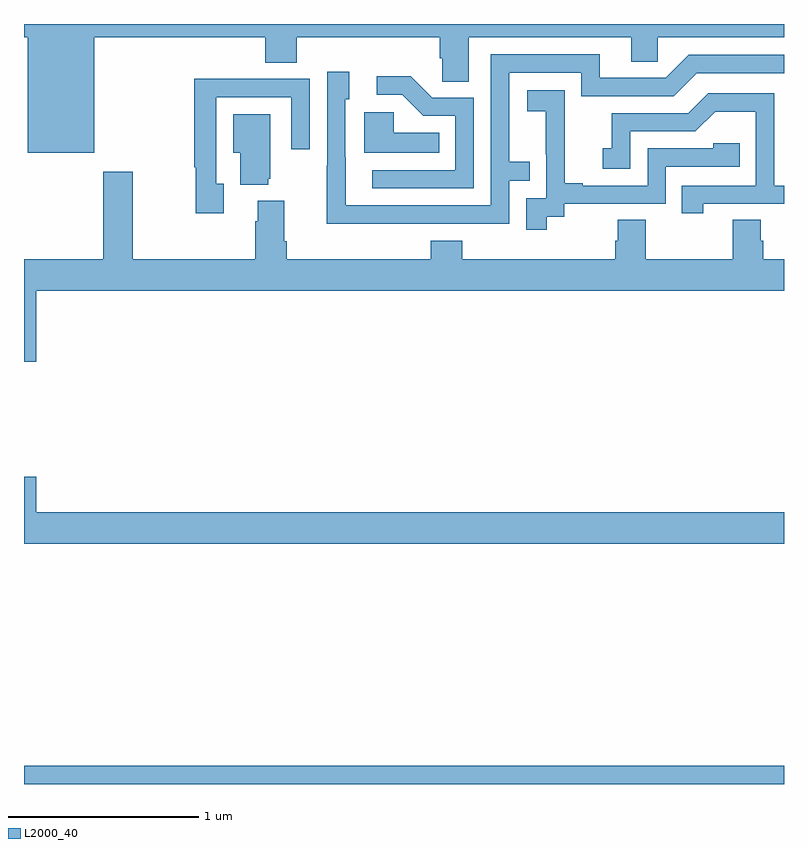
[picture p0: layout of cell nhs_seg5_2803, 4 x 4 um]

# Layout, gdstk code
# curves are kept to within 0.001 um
import gdstk
lib = gdstk.Library(unit=1e-6, precision=1e-09)
def R(c, l, rs):  # rectangles x0, y0, x1, y1
    for r in rs: c.add(gdstk.rectangle(r[:2], r[2:], *l))
def P(c, l, *ps):  # polygons
    for p in ps: c.add(gdstk.Polygon(p, *l))
L2000_40 = (2000, 40)

nhs_seg5_2803 = lib.new_cell('nhs_seg5_2803')
R(nhs_seg5_2803, L2000_40, [(273,884.799,277,884.896)])
P(nhs_seg5_2803, L2000_40, [(273.37,888.728),(274.271,888.728),(274.271,888.595),(274.436,888.595),(274.436,888.728),(275.189,888.728),(275.189,888.619),(275.202,888.619),(275.202,888.496),(275.341,888.496),(275.341,888.728),(276.197,888.728),(276.197,888.601),(276.336,888.601),(276.336,888.728),(277,888.728),(277,888.799),(273,888.799),(273,888.728),(273.02,888.728),(273.02,888.122),(273.37,888.122)],
  [(275.057,887.748),(275.553,887.748),(275.553,887.973),(275.663,887.973),(275.663,888.074),(275.553,888.074),(275.553,888.543),(275.934,888.543),(275.934,888.42),(276.42,888.42),(276.54,888.54),(277,888.54),(277,888.636),(276.498,888.636),(276.378,888.516),(276.031,888.516),(276.031,888.639),(275.457,888.639),(275.457,887.844),(274.693,887.844),(274.692,888.402),(274.711,888.402),(274.711,888.547),(274.596,888.547),(274.596,888.053),(274.594,888.053),(274.594,887.747)],
  [(275.367,888.411),(275.148,888.411),(275.035,888.524),(274.857,888.524),(274.857,888.426),(274.991,888.426),(275.102,888.315),(275.271,888.315),(275.271,888.03),(274.833,888.03),(274.833,887.934),(275.367,887.934)],
  [(274.051,887.958),(274.011,887.958),(274.011,888.414),(274.407,888.414),(274.407,888.141),(274.503,888.141),(274.503,888.51),(274.187,888.51),(274.187,888.512),(273.895,888.512),(273.895,888.046),(273.903,888.046),(273.903,887.802),(274.051,887.802)],
  [(275.752,887.785),(275.844,887.785),(275.844,887.853),(276.378,887.853),(276.378,888.048),(276.767,888.048),(276.767,888.171),(276.627,888.171),(276.627,888.144),(276.282,888.144),(276.282,887.949),(275.941,887.949),(275.941,887.962),(275.846,887.962),(275.846,888.245),(275.847,888.245),(275.847,888.451),(275.649,888.451),(275.649,888.341),(275.747,888.341),(275.747,888.113),(275.748,888.113),(275.748,887.883),(275.643,887.883),(275.643,887.715),(275.752,887.715)],
  [(276.574,887.853),(277,887.853),(277,887.949),(276.948,887.949),(276.948,888.435),(276.602,888.435),(276.497,888.33),(276.094,888.33),(276.094,888.145),(276.045,888.145),(276.045,888.036),(276.192,888.036),(276.192,888.234),(276.534,888.234),(276.638,888.338),(276.852,888.338),(276.852,887.949),(276.463,887.949),(276.463,887.802),(276.574,887.802)],
  [(275.186,888.226),(274.947,888.226),(274.947,888.334),(274.79,888.334),(274.79,888.122),(275.186,888.122)],
  [(274.286,887.985),(274.297,887.985),(274.297,888.325),(274.1,888.325),(274.1,888.122),(274.139,888.122),(274.139,887.954),(274.286,887.954)],
  [(273.064,887.396),(277,887.396),(277,887.56),(276.89,887.56),(276.89,887.658),(276.877,887.658),(276.877,887.768),(276.73,887.768),(276.73,887.56),(276.273,887.56),(276.273,887.768),(276.125,887.768),(276.125,887.658),(276.113,887.658),(276.113,887.56),(275.306,887.56),(275.306,887.659),(275.141,887.659),(275.141,887.56),(274.382,887.56),(274.382,887.656),(274.369,887.656),(274.369,887.869),(274.229,887.869),(274.229,887.762),(274.217,887.762),(274.217,887.56),(273.573,887.56),(273.573,888.022),(273.418,888.022),(273.418,887.56),(273,887.56),(273,887.022),(273.064,887.022)],
  [(277,886.228),(273.064,886.228),(273.064,886.417),(273,886.417),(273,886.064),(277,886.064)])

lib.write_gds('nhs_seg5_2803.gds')
